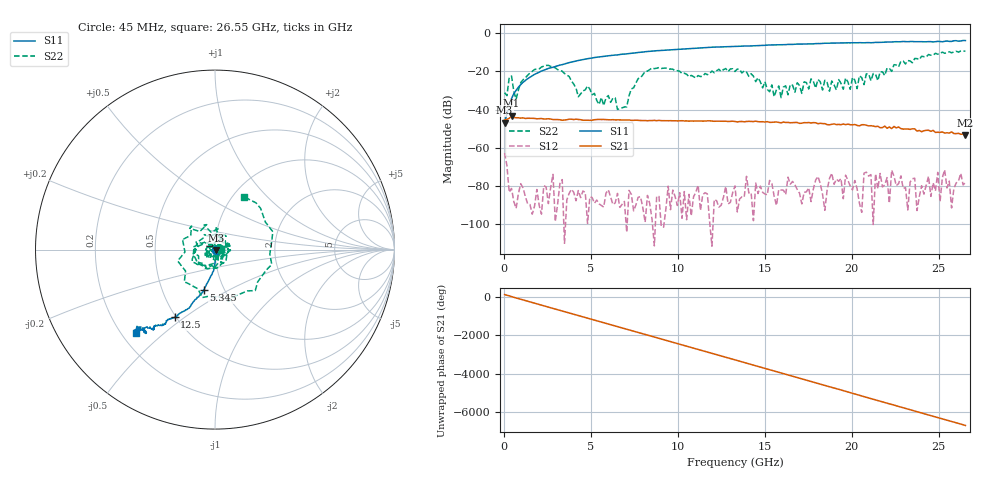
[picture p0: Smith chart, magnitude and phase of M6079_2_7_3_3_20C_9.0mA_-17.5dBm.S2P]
!  2-Port S-parameters saved by WinCal
! VAR MeasName=S-Parameters (CALIBRATED_DATA) read from VNA (C)
! VAR MeasDate=10/5/2015 6:50:40 PM
! VAR NAME=M6079_2_7_3_3_20C_9.0mA_-17.5dBm
! VAR FILENAME=M6079_2_7_3_3_20C_9.0mA_-17.5dBm.S2P
! VAR DATE=10/5/2015 6:50:40 PM
! VAR PHYS_PORTS=2,1
! VAR ObjTypeName=DATASET
! VAR IndexType=Frequency
# Hz S DB R 50
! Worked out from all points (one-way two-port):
!   201 points, 45 MHz to 26.55 GHz, reference 50 ohm
!   highest |S21| = -43.25 dB at 442.5 MHz (marker M1); lowest = -53.3 dB at 26.55 GHz (marker M2)
!   lowest |S11| = -46.8 dB at 45 MHz (marker M3), VSWR 1.01, Z = 50.4 - j0.153 ohm
!   |S11| at or under -10 dB: start of sweep to 7.843 GHz
!   |S22| runs from -40.0 to -9.2 dB; largest |S21 - S12| = 0.0068
!   S11 on the Smith chart (normalised r, x): 45 MHz: 1.01, -0.00; 5.345 GHz: 0.80, -0.38; 12.5 GHz: 0.49, -0.46; 26.55 GHz: 0.26, -0.41
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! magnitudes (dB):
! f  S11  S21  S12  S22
! 45 MHz  -46.8  -45.5  -62.8  -31.1
! 442.5 MHz  -34.3  -43.3  -81.3  -22.4
! 707.5 MHz  -29.9  -44.3  -91.8  -34.5
! 2.43 GHz  -18.9  -44.9  -80.5  -16.9
! 4.55 GHz  -13.9  -45.6  -82.7  -30.3
! 5.345 GHz  -12.6  -45.2  -87.4  -35.3
! 7.067 GHz  -10.8  -45.5  -104.3  -38.6
! 7.73 GHz  -10.1  -45.7  -85.9  -23.8
! 8.922 GHz  -9.1  -45.7  -85.6  -18.0
! 12.5 GHz  -7.2  -46.1  -90.2  -20.1
! 13.29 GHz  -6.9  -46.3  -80.1  -20.1
! 15.95 GHz  -6.0  -47.0  -82.2  -33.8
! 17.8 GHz  -5.6  -46.8  -81.7  -25.2
! 20.32 GHz  -5.0  -48.3  -81.5  -29.0
! 20.85 GHz  -4.9  -48.2  -72.8  -21.3
! 22.17 GHz  -4.6  -49.2  -89.1  -18.4
! 22.3 GHz  -4.6  -50.0  -71.8  -20.0
! 22.57 GHz  -4.4  -49.6  -79.9  -16.7
! 25.09 GHz  -4.3  -52.0  -88.3  -10.7
! 25.35 GHz  -4.2  -52.3  -71.6  -10.5
! 25.48 GHz  -4.1  -52.2  -81.1  -10.2
! 26.55 GHz  -3.8  -53.3  -78.3  -9.5
